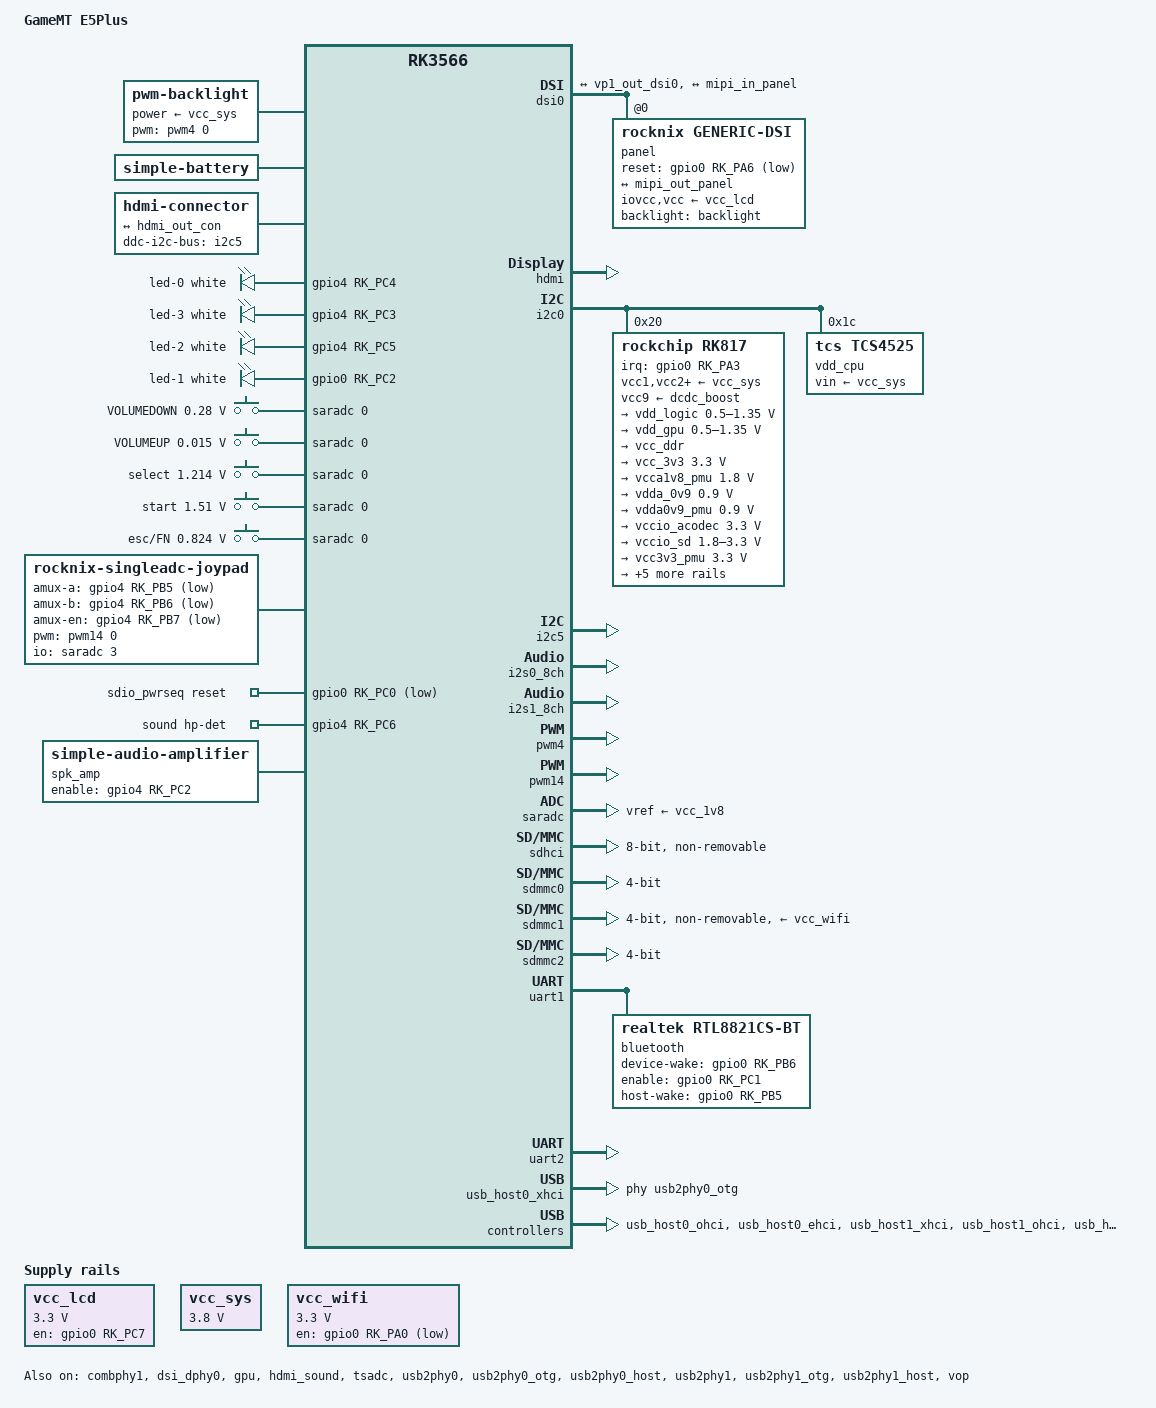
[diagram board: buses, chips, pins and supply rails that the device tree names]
// SPDX-License-Identifier: (GPL-2.0+ OR MIT)

/dts-v1/;

#include <dt-bindings/gpio/gpio.h>
#include <dt-bindings/input/linux-event-codes.h>
#include <dt-bindings/leds/common.h>
#include <dt-bindings/pinctrl/rockchip.h>
#include <dt-bindings/soc/rockchip,vop2.h>
#include "rk3566.dtsi"

/ {
	model = "GameMT E5Plus";
	chassis-type = "handset";
	compatible = "gamemt,e5plus", "rockchip,rk3566";

	aliases {
		mmc0 = &sdhci;
		mmc1 = &sdmmc0;
		mmc2 = &sdmmc2;
		mmc3 = &sdmmc1;
	};

	chosen: chosen {
		stdout-path = "serial2:1500000n8";
	};

	backlight: backlight {
		compatible = "pwm-backlight";
		power-supply = <&vcc_sys>;
		pwms = <&pwm4 0 25000 0>;
		brightness-levels = <
			  0  20  20  21  21  22  22  23
			 23  24  24  25  25  26  26  27
			 27  28  28  29  29  30  30  31
			 31  32  32  33  33  34  34  35
			 35  36  36  37  37  38  38  39
			 40  41  42  43  44  45  46  47
			 48  49  50  50  51  52  53  54
			 55  55  56  57  58  59  60  61
			 62  63  64  64  65  65  66  67
			 68  69  70  71  71  72  73  74
			 75  76  77  78  79  79  80  81
			 82  83  84  85  86  86  87  88
			 89  90  91  92  93  94  94  95
			 96  97  98  99 100 101 101 102
			103 104 105 106 107 107 108 109
			110 111 112 113 114 115 115 116
			117 118 119 120 121 122 123 123
			124 125 126 127 128 129 130 130
			131 132 133 134 135 136 136 137
			138 139 140 141 142 143 143 144
			145 146 147 147 148 149 150 151
			152 153 154 155 156 156 157 158
			159 157 158 159 160 161 162 162
			163 164 165 166 167 168 169 169
			170 171 172 173 174 175 175 176
			177 178 179 180 181 182 182 183
			184 185 186 187 188 189 190 190
			191 192 193 194 195 196 197 197
			198 199 200 201 202 203 204 204
			205 206 207 208 209 209 210 211
			212 213 213 214 214 215 215 216
			216 217 217 218 218 219 219 220>;
		default-brightness-level = <200>;
	};

	battery: battery {
		compatible = "simple-battery";
		charge-full-design-microamp-hours = <4000000>;
		charge-term-current-microamp = <300000>;
		constant-charge-current-max-microamp = <2000000>;
		constant-charge-voltage-max-microvolt = <4300000>;
		factory-internal-resistance-micro-ohms = <91000>;
		voltage-max-design-microvolt = <4138000>;
		voltage-min-design-microvolt = <3400000>;

		ocv-capacity-celsius = <20>;
		ocv-capacity-table-0 =  <4138000 100>, <4083000 95>, <4059000 90>, <4044000 85>,
					<4030000 80>, <4020000 75>, <4006000 70>, <3972000 65>,
					<3934000 60>, <3904000 55>, <3878000 50>, <3857000 45>,
					<3843000 40>, <3826000 35>, <3801000 30>, <3768000 25>,
					<3735000 20>, <3688000 15>, <3621000 10>, <3553000 5>,
					<3400000 0>;
	};


	hdmi-con {
		compatible = "hdmi-connector";
		ddc-i2c-bus = <&i2c5>;
		type = "c";

		port {
			hdmi_con_in: endpoint {
				remote-endpoint = <&hdmi_out_con>;
			};
		};
	};

    leds: gpio-leds {
         compatible = "gpio-leds";
         pinctrl-0 = <&btn_pins_led>;
         pinctrl-names = "default";

        led-0 {
            color = <LED_COLOR_ID_WHITE>;
            default-state = "off";
            function = "left_joy";
            gpios = <&gpio4 RK_PC4 GPIO_ACTIVE_HIGH>;
        };

        led-3 {
            color = <LED_COLOR_ID_WHITE>;
            default-state = "off";
            function = "right_down";
            gpios = <&gpio4 RK_PC3 GPIO_ACTIVE_HIGH>;
        };
        led-2 {
            color = <LED_COLOR_ID_WHITE>;
            default-state = "off";
            function = "right_joy";
            gpios = <&gpio4 RK_PC5 GPIO_ACTIVE_HIGH>;
        };
        led-1 {
            color = <LED_COLOR_ID_WHITE>;
            default-state = "left_down";
            function = LED_FUNCTION_STATUS;
            gpios = <&gpio0 RK_PC2 GPIO_ACTIVE_HIGH>;
        };
    };

	adc_keys: adc-keys {
		compatible = "adc-keys";
		io-channels = <&saradc 0>;
		io-channel-names = "buttons";
		keyup-threshold-microvolt = <1800000>;
		poll-interval = <60>;

		vol-down-key {
		           label = "VOLUMEDOWN";
		           linux,code = <KEY_VOLUMEDOWN>;
			press-threshold-microvolt = <280000>;
		};

		vol-up-key {
		           label = "VOLUMEUP";
		           linux,code = <KEY_VOLUMEUP>;
			press-threshold-microvolt = <15000>;
		};
		select-key {
		           label = "select";
		           linux,code = <KEY_RIGHTSHIFT>;
			press-threshold-microvolt = <1214000>;
		};

		start-key {
		           label = "start";
		           linux,code = <KEY_ENTER>;
			press-threshold-microvolt = <1510000>;//<987000>;
		};

		fn-key {
		           label = "esc/FN";
		           linux,code = <KEY_ESC>;
			press-threshold-microvolt = <824000>;//<1310000>;
		};
	};

	joypad: rocknix-singleadc-joypad {
		compatible = "rocknix-singleadc-joypad";

		joypad-name = "retrogame_joypad";
		joypad-product = <0x1101>;
		joypad-revision = <0x0100>;
		joypad-vendor = <0x484B>;

		pwms = <&pwm14 0 200000000 0>;
		pwm-names = "enable";
		rumble-boost-weak = <0x0000>;
		rumble-boost-strong = <0x0000>;

		status = "okay";

		/* gpio pincontrol setup */
		pinctrl-names = "default";
		pinctrl-0 = <&btn_pins_ctrl>;

		/* Analog mux define */
		io-channel-names = "amux_adc";
		io-channels = <&saradc 3>;

		/* adc mux channel count */
		amux-count = <4>;
		amux-channel-mapping = <0 2 1 3>;
		/* adc mux select(a,b) gpio */
		amux-a-gpios = <&gpio4 RK_PB5 GPIO_ACTIVE_LOW>;
		amux-b-gpios = <&gpio4 RK_PB6 GPIO_ACTIVE_LOW>;
		/* adc mux enable gpio */
		amux-en-gpios = <&gpio4 RK_PB7 GPIO_ACTIVE_LOW>;

		/* adc calculate scale */
		button-adc-scale = <2>;


		/* adc deadzone range  */
		button-adc-deadzone = <50>;

		/*
		  specifies fuzz value that is used to filter noise from
		  the event stream.
		*/
		button-adc-fuzz = <32>;
		button-adc-flat = <32>;

		/*
		  Analog Stick data tuning value(precent)
		  p = positive direction, n = negative direction
		  report value = (real_adc_data * tuning_value) / 100
		*/
		abs_x-p-tuning = <245>;
		abs_x-n-tuning = <545>;

		abs_y-p-tuning = <245>;
		abs_y-n-tuning = <545>;

		abs_rx-p-tuning = <545>;
		abs_rx-n-tuning = <245>;

		abs_ry-p-tuning = <345>;
		abs_ry-n-tuning = <545>;

		/* poll device interval (ms), adc read interval */
		poll-interval = <10>;

		/* required to invert x/y */
		//invert-absy;

		/* gpio button auto repeat set value : default disable */
		/* autorepeat; */

		/*    *** Powkiddy X55 Switch layout ***
		|------------------------------------------------|
		| sw15                                      sw13 |
		| sw16                                      sw14 |
		|------------------------------------------------|
		|                                                |
		|   Analog     |-------------------|             |
		|    sw11      |                   |      sw8    |
		|              |                   |   sw7   sw5 |
		|              |    LCD Display    |      sw6    |
		|     sw1      |                   |             |
		|  sw3  sw4    |                   |    Analog   |
		|     sw2      |-------------------|     sw12    |
		|                                                |
		| sw9 Vol+                           Vol- sw10   |
		|                                                |
		|------------------------------------------------| */

		sw1 {
			gpios = <&gpio4 RK_PB3 GPIO_ACTIVE_LOW>;
			label = "GPIO DPAD-UP";
			linux,code = <BTN_DPAD_UP>;
		};
		sw2 {
			gpios = <&gpio4 RK_PB4 GPIO_ACTIVE_LOW>;
			label = "GPIO DPAD-DOWN";
			linux,code = <BTN_DPAD_DOWN>;
		};
		sw3 {
			gpios = <&gpio4 RK_PB1 GPIO_ACTIVE_LOW>;
			label = "GPIO DPAD-LEFT";
			linux,code = <BTN_DPAD_LEFT>;
		};
		sw4 {
			gpios = <&gpio4 RK_PB2 GPIO_ACTIVE_LOW>;
			label = "GPIO DPAD-RIGHT";
			linux,code = <BTN_DPAD_RIGHT>;
		};
		sw5 {
			gpios = <&gpio4 RK_PA6 GPIO_ACTIVE_LOW>;
			label = "GPIO BTN-A";
			linux,code = <BTN_EAST>;
		};
		sw6 {
			gpios = <&gpio4 RK_PA7 GPIO_ACTIVE_LOW>;
			label = "GPIO BTN-B";
			linux,code = <BTN_SOUTH>;
		};
		sw7 {
			gpios = <&gpio4 RK_PB0 GPIO_ACTIVE_LOW>;
			label = "GPIO BTN-Y";
			linux,code = <BTN_WEST>;
		};
		sw8 {
			gpios = <&gpio4 RK_PA5 GPIO_ACTIVE_LOW>;
			label = "GPIO BTN-X";
			linux,code = <BTN_NORTH>;
		};
		sw9 {
			gpios = <&gpio3 RK_PD5 GPIO_ACTIVE_LOW>;
			label = "BTN_SELECT";
			linux,code = <BTN_SELECT>;
		};
		sw10 {
			gpios = <&gpio3 RK_PD4 GPIO_ACTIVE_LOW>;
			label = "BTN_START";
			linux,code = <BTN_START>;
		};
		/* this sw11 entry is SPECIAL, most RK3566 devices do not have
		   this physical button but for the sake of keeping compatibility
		   with ES and retroarch, this phantom button and offset will
		   allow existing userspace programs to work without doing any
		   new remapping thus saving lots of headaches and extra work */
		sw11 {
			gpios = <&gpio3 RK_PD3 GPIO_ACTIVE_LOW>;
			label = "GPIO BTN_F";
			linux,code = <BTN_MODE>;
		};
		sw12 {
			gpios = <&gpio4 RK_PC0 GPIO_ACTIVE_LOW>;
			label = "BTN_THUMBL";
			linux,code = <BTN_THUMBL>;
		};
		sw13 {
			gpios = <&gpio4 RK_PC1 GPIO_ACTIVE_LOW>;
			label = "BTN_THUMBR";
			linux,code = <BTN_THUMBR>;
		};
		sw14 {
			gpios = <&gpio4 RK_PA3 GPIO_ACTIVE_LOW>;
			label = "GPIO BTN_TR";
			linux,code = <BTN_TR>;
		};
		sw15 {
			gpios = <&gpio4 RK_PA4 GPIO_ACTIVE_LOW>;
			label = "GPIO BTN_TR2";
			linux,code = <BTN_TR2>;
		};
		sw16 {
			gpios = <&gpio4 RK_PA1 GPIO_ACTIVE_LOW>;
			label = "GPIO BTN_TL";
			linux,code = <BTN_TL>;
		};
		sw17 {
			gpios = <&gpio4 RK_PA2 GPIO_ACTIVE_LOW>;
			label = "GPIO BTN_TL2";
			linux,code = <BTN_TL2>;
		};
	};

	sdio_pwrseq: sdio-pwrseq {
		compatible = "mmc-pwrseq-simple";
		clocks = <&rk817 1>;
		clock-names = "ext_clock";
		pinctrl-0 = <&wifi_enable_h>;
		pinctrl-names = "default";
		post-power-on-delay-ms = <200>;
		reset-gpios = <&gpio0 RK_PC0 GPIO_ACTIVE_LOW>;
	};

	/* Channels reversed for both headphones and speakers. */
	sound {
		compatible = "simple-audio-card";
		pinctrl-0 = <&hp_det>;
		pinctrl-names = "default";
		simple-audio-card,name = "rk817_ext";
		simple-audio-card,aux-devs = <&spk_amp>;
		simple-audio-card,format = "i2s";
		simple-audio-card,hp-det-gpio = <&gpio4 RK_PC6 GPIO_ACTIVE_HIGH>;
		simple-audio-card,mclk-fs = <256>;
		simple-audio-card,widgets =
			"Microphone", "Mic Jack",
			"Headphone", "Headphones",
			"Speaker", "Internal Speakers";
		simple-audio-card,routing =
			"MICL", "Mic Jack",
			"Headphones", "HPOL",
			"Headphones", "HPOR",
			"Internal Speakers", "Speaker Amp OUTL",
			"Internal Speakers", "Speaker Amp OUTR",
			"Speaker Amp INL", "HPOL",
			"Speaker Amp INR", "HPOR";
		simple-audio-card,pin-switches = "Internal Speakers";

		simple-audio-card,codec {
			sound-dai = <&rk817>;
		};

		simple-audio-card,cpu {
			sound-dai = <&i2s1_8ch>;
		};
	};

	spk_amp: audio-amplifier {
		compatible = "simple-audio-amplifier";
		enable-gpios = <&gpio4 RK_PC2 GPIO_ACTIVE_HIGH>;
		pinctrl-0 = <&spk_amp_enable_h>;
		pinctrl-names = "default";
		sound-name-prefix = "Speaker Amp";
	};

	vcc_lcd: regulator-vcc-lcd {
		compatible = "regulator-fixed";
		enable-active-high;
		gpio = <&gpio0 RK_PC7 GPIO_ACTIVE_HIGH>;
		pinctrl-0 = <&vcc_lcd_en>;
		pinctrl-names = "default";
		regulator-min-microvolt = <3300000>;
		regulator-max-microvolt = <3300000>;
		regulator-name = "vcc_lcd";
	};

	vcc_sys: regulator-vcc-sys {
		compatible = "regulator-fixed";
		regulator-always-on;
		regulator-boot-on;
		regulator-min-microvolt = <3800000>;
		regulator-max-microvolt = <3800000>;
		regulator-name = "vcc_sys";
	};

	vcc_wifi: regulator-vcc-wifi {
		compatible = "regulator-fixed";
		gpio = <&gpio0 RK_PA0 GPIO_ACTIVE_LOW>;
		pinctrl-0 = <&vcc_wifi_h>;
		pinctrl-names = "default";
		regulator-min-microvolt = <3300000>;
		regulator-max-microvolt = <3300000>;
		regulator-name = "vcc_wifi";
	};
};

&combphy1 {
	status = "okay";
};

&cru {
	assigned-clocks = <&pmucru CLK_RTC_32K>, <&cru PLL_GPLL>,
			  <&pmucru PLL_PPLL>, <&cru PLL_VPLL>;
	assigned-clock-rates = <32768>, <1200000000>,
			       <200000000>, <126400000>;
};

&cpu0 {
	cpu-supply = <&vdd_cpu>;
};

&cpu1 {
	cpu-supply = <&vdd_cpu>;
};

&cpu2 {
	cpu-supply = <&vdd_cpu>;
};

&cpu3 {
	cpu-supply = <&vdd_cpu>;
};

&dsi_dphy0 {
	status = "okay";
};

&dsi0 {
	status = "okay";
	#address-cells = <1>;
	#size-cells = <0>;

	ports {
		dsi0_in: port@0 {
			reg = <0>;
			dsi0_in_vp1: endpoint {
				remote-endpoint = <&vp1_out_dsi0>;
			};
		};

		dsi0_out: port@1 {
			reg = <1>;
			mipi_out_panel: endpoint {
				remote-endpoint = <&mipi_in_panel>;
			};
		};
	};

	panel: panel@0 {
		compatible = "rocknix,generic-dsi";
		reg = <0>;
		backlight = <&backlight>;
		iovcc-supply = <&vcc_lcd>;
		pinctrl-names = "default";
		pinctrl-0 = <&lcd_rst>;
		reset-gpios = <&gpio0 RK_PA6 GPIO_ACTIVE_LOW>;
		rotation = <90>;
		vcc-supply = <&vcc_lcd>;
            panel_description =
                "G size=72,128 delays=120,200,20,20,20 format=rgb888 lanes=4 flags=0xa03",

                "M clock=72328 horizontal=720,146,20,19 vertical=1280,17,4,31 default=1",

                "I seq=0000",
                "I seq=ff128401",
                "I seq=0080",
                "I seq=ff1284",
                "I seq=0092",
                "I seq=ff3002",
                "I seq=0080",
                "I seq=c00064000e1200640e12",
                "I seq=0081",
                "I seq=c155",
                "I seq=00a0",
                "I seq=c102",
                "I seq=00c6",
                "I seq=b003",
                "I seq=00c2",
                "I seq=f540",
                "I seq=00c3",
                "I seq=f585",
                "I seq=00a0",
                "I seq=c40510060205151005100702051510",
                "I seq=00b0",
                "I seq=c40000",
                "I seq=00bb",
                "I seq=c58a",
                "I seq=0091",
                "I seq=c51652",
                "I seq=0000",
                "I seq=d88d8d",
                "I seq=0000",
                "I seq=d968",
                "I seq=00b3",
                "I seq=c584",
                "I seq=0090",
                "I seq=f502110215",
                "I seq=0090",
                "I seq=c550",
                "I seq=0094",
                "I seq=c566",
                "I seq=00b2",
                "I seq=f50000",
                "I seq=00b4",
                "I seq=f50000",
                "I seq=00b6",
                "I seq=f50000",
                "I seq=00b8",
                "I seq=f50000",
                "I seq=0094",
                "I seq=f50000",
                "I seq=00d2",
                "I seq=f50615",
                "I seq=00b4",
                "I seq=c5cc",
                "I seq=0080",
                "I seq=cb0000000000000000000000",
                "I seq=0090",
                "I seq=cb000000000000000000000000000000",
                "I seq=00a0",
                "I seq=cb000000000000000000000000000000",
                "I seq=00b0",
                "I seq=cb000000000000000000000000000000",
                "I seq=00c0",
                "I seq=cb050505050505000000000000000000",
                "I seq=00d0",
                "I seq=cb000000000505050505050505050000",
                "I seq=00e0",
                "I seq=cb0000000000000000000000050505",
                "I seq=00f0",
                "I seq=cbfffffffffffffffcffffff",
                "I seq=0080",
                "I seq=cc0c0a100e0204000000000000000000",
                "I seq=0090",
                "I seq=cc00000000062e2d0b090f0d01030000",
                "I seq=00a0",
                "I seq=cc0000000000000000000000052e2d",
                "I seq=00b0",
                "I seq=cc0d0f090b0301000000000000000000",
                "I seq=00c0",
                "I seq=cc00000000062d2e0e100a0c04020000",
                "I seq=00d0",
                "I seq=cc0000000000000000000000052d2e",
                "I seq=0080",
                "I seq=ce8b03188a0318890318880318",
                "I seq=0090",
                "I seq=ce380f18380e180000000000000000",
                "I seq=00a0",
                "I seq=ce3807050000180038060501001800",
                "I seq=00b0",
                "I seq=ce3805050200180038040503001800",
                "I seq=00c0",
                "I seq=ce3803050400180038020505001800",
                "I seq=00d0",
                "I seq=ce3801050600180038000507001800",
                "I seq=0080",
                "I seq=cf0000000000000000000000000000",
                "I seq=0090",
                "I seq=cf0000000000000000000000000000",
                "I seq=00a0",
                "I seq=cf0000000000000000000000000000",
                "I seq=00b0",
                "I seq=cf0000000000000000000000000000",
                "I seq=00c0",
                "I seq=cf0101202000000281000308",
                "I seq=00b5",
                "I seq=c538117f38117f",
                "I seq=0000",
                "I seq=ffffffff",
                "I seq=11 wait=120",
                "I seq=29 wait=20";

		port {
			mipi_in_panel: endpoint {
				remote-endpoint = <&mipi_out_panel>;
			};
		};
	};
};

&gpu {
	mali-supply = <&vdd_gpu>;
	status = "okay";
};

&hdmi {
	ddc-i2c-bus = <&i2c5>;
	pinctrl-0 = <&hdmitxm0_cec>;
	pinctrl-names = "default";
	status = "okay";
};

&hdmi_in {
	hdmi_in_vp0: endpoint {
		remote-endpoint = <&vp0_out_hdmi>;
	};
};

&hdmi_out {
	hdmi_out_con: endpoint {
		remote-endpoint = <&hdmi_con_in>;
	};
};

&hdmi_sound {
	status = "okay";
};

&i2c0 {
	status = "okay";

	rk817: pmic@20 {
		compatible = "rockchip,rk817";
		reg = <0x20>;
		assigned-clocks = <&cru I2S1_MCLKOUT_TX>;
		assigned-clock-parents = <&cru CLK_I2S1_8CH_TX>;
		clock-names = "mclk";
		clock-output-names = "rk808-clkout1", "rk808-clkout2";
		clocks = <&cru I2S1_MCLKOUT_TX>;
		interrupt-parent = <&gpio0>;
		interrupts = <RK_PA3 IRQ_TYPE_LEVEL_LOW>;
		pinctrl-names = "default";
		pinctrl-0 = <&i2s1m0_mclk>, <&pmic_int_l>;
		wakeup-source;
		#clock-cells = <1>;
		#sound-dai-cells = <0>;

		vcc1-supply = <&vcc_sys>;
		vcc2-supply = <&vcc_sys>;
		vcc3-supply = <&vcc_sys>;
		vcc4-supply = <&vcc_sys>;
		vcc5-supply = <&vcc_sys>;
		vcc6-supply = <&vcc_sys>;
		vcc7-supply = <&vcc_sys>;
		vcc8-supply = <&vcc_sys>;
		vcc9-supply = <&dcdc_boost>;

		regulators {
			vdd_logic: DCDC_REG1 {
				regulator-always-on;
				regulator-boot-on;
				regulator-min-microvolt = <500000>;
				regulator-max-microvolt = <1350000>;
				regulator-ramp-delay = <6001>;
				regulator-initial-mode = <0x2>;
				regulator-name = "vdd_logic";
				regulator-state-mem {
					regulator-off-in-suspend;
					regulator-suspend-microvolt = <900000>;
				};
			};

			vdd_gpu: DCDC_REG2 {
				regulator-always-on;
				regulator-boot-on;
				regulator-min-microvolt = <500000>;
				regulator-max-microvolt = <1350000>;
				regulator-ramp-delay = <6001>;
				regulator-initial-mode = <0x2>;
				regulator-name = "vdd_gpu";
				regulator-state-mem {
					regulator-off-in-suspend;
				};
			};

			vcc_ddr: DCDC_REG3 {
				regulator-always-on;
				regulator-boot-on;
				regulator-initial-mode = <0x2>;
				regulator-name = "vcc_ddr";
				regulator-state-mem {
					regulator-on-in-suspend;
				};
			};

			vcc_3v3: DCDC_REG4 {
				regulator-always-on;
				regulator-boot-on;
				regulator-min-microvolt = <3300000>;
				regulator-max-microvolt = <3300000>;
				regulator-initial-mode = <0x2>;
				regulator-name = "vcc_3v3";
				regulator-state-mem {
					regulator-on-in-suspend;
					regulator-suspend-microvolt = <3300000>;
				};
			};

			vcca1v8_pmu: LDO_REG1 {
				regulator-always-on;
				regulator-boot-on;
				regulator-min-microvolt = <1800000>;
				regulator-max-microvolt = <1800000>;
				regulator-name = "vcca1v8_pmu";
				regulator-state-mem {
					regulator-on-in-suspend;
					regulator-suspend-microvolt = <1800000>;
				};
			};

			vdda_0v9: LDO_REG2 {
				regulator-always-on;
				regulator-boot-on;
				regulator-min-microvolt = <900000>;
				regulator-max-microvolt = <900000>;
				regulator-name = "vdda_0v9";
				regulator-state-mem {
					regulator-off-in-suspend;
				};
			};

			vdda0v9_pmu: LDO_REG3 {
				regulator-always-on;
				regulator-boot-on;
				regulator-min-microvolt = <900000>;
				regulator-max-microvolt = <900000>;
				regulator-name = "vdda0v9_pmu";
				regulator-state-mem {
					regulator-on-in-suspend;
					regulator-suspend-microvolt = <900000>;
				};
			};

			vccio_acodec: LDO_REG4 {
				regulator-always-on;
				regulator-boot-on;
				regulator-min-microvolt = <3300000>;
				regulator-max-microvolt = <3300000>;
				regulator-name = "vccio_acodec";
				regulator-state-mem {
					regulator-off-in-suspend;
				};
			};

			vccio_sd: LDO_REG5 {
				regulator-always-on;
				regulator-boot-on;
				regulator-min-microvolt = <1800000>;
				regulator-max-microvolt = <3300000>;
				regulator-name = "vccio_sd";
				regulator-state-mem {
					regulator-off-in-suspend;
				};
			};

			vcc3v3_pmu: LDO_REG6 {
				regulator-always-on;
				regulator-boot-on;
				regulator-min-microvolt = <3300000>;
				regulator-max-microvolt = <3300000>;
				regulator-name = "vcc3v3_pmu";
				regulator-state-mem {
					regulator-on-in-suspend;
					regulator-suspend-microvolt = <3300000>;
				};
			};

			vcc_1v8: LDO_REG7 {
				regulator-always-on;
				regulator-boot-on;
				regulator-min-microvolt = <1800000>;
				regulator-max-microvolt = <1800000>;
				regulator-name = "vcc_1v8";
				regulator-state-mem {
					regulator-off-in-suspend;
				};
			};

			vcc1v8_dvp: LDO_REG8 {
				regulator-always-on;
				regulator-boot-on;
				regulator-min-microvolt = <1800000>;
				regulator-max-microvolt = <1800000>;
				regulator-name = "vcc1v8_dvp";
				regulator-state-mem {
					regulator-on-in-suspend;
				};
			};

			vcc2v8_dvp: LDO_REG9 {
				regulator-always-on;
				regulator-boot-on;
				regulator-min-microvolt = <1800000>;
				regulator-max-microvolt = <3300000>;
				regulator-name = "vcc2v8_dvp";
				regulator-state-mem {
					regulator-off-in-suspend;
				};
			};

			dcdc_boost: BOOST {
				regulator-min-microvolt = <4700000>;
				regulator-max-microvolt = <5400000>;
				regulator-name = "boost";
				regulator-state-mem {
					regulator-off-in-suspend;
				};
			};

			otg_switch: OTG_SWITCH {
				regulator-name = "otg_switch";
				regulator-state-mem {
					regulator-off-in-suspend;
				};
			};
		};

		rk817_charger: charger {
			monitored-battery = <&battery>;
			rockchip,resistor-sense-micro-ohms = <10000>;
			rockchip,sleep-enter-current-microamp = <150000>;
			rockchip,sleep-filter-current-microamp = <100000>;
		};

	};

	vdd_cpu: regulator@1c {
		compatible = "tcs,tcs4525";
		reg = <0x1c>;
		fcs,suspend-voltage-selector = <1>;
		regulator-always-on;
		regulator-boot-on;
		regulator-min-microvolt = <712500>;
		regulator-max-microvolt = <1390000>;
		regulator-name = "vdd_cpu";
		regulator-ramp-delay = <2300>;
		vin-supply = <&vcc_sys>;
		regulator-state-mem {
			regulator-off-in-suspend;
		};
	};
};

&i2c5 {
	pinctrl-0 = <&i2c5m1_xfer>;
	pinctrl-names = "default";
	status = "okay";
};

&i2s0_8ch {
	status = "okay";
};

&i2s1_8ch {
	pinctrl-0 = <&i2s1m0_sclktx>, <&i2s1m0_lrcktx>, <&i2s1m0_sdi0>,
		    <&i2s1m0_sdo0>;
	pinctrl-names = "default";
	rockchip,trcm-sync-tx-only;
	status = "okay";
};

&pinctrl {
	audio-amplifier {
		spk_amp_enable_h: spk-amp-enable-h {
			rockchip,pins =
				<4 RK_PC2 RK_FUNC_GPIO &pcfg_pull_none>;
		};
	};

	gpio-control {
		btn_pins_ctrl: btn-pins-ctrl {
			rockchip,pins =
				<4 RK_PB5 RK_FUNC_GPIO &pcfg_pull_up>,
				<4 RK_PB6 RK_FUNC_GPIO &pcfg_pull_up>,
				<4 RK_PB7 RK_FUNC_GPIO &pcfg_pull_up>,
				<4 RK_PB3 RK_FUNC_GPIO &pcfg_pull_up>,
				<4 RK_PB4 RK_FUNC_GPIO &pcfg_pull_up>,
				<4 RK_PB1 RK_FUNC_GPIO &pcfg_pull_up>,
				<4 RK_PB2 RK_FUNC_GPIO &pcfg_pull_up>,
				<4 RK_PA7 RK_FUNC_GPIO &pcfg_pull_up>,
				<4 RK_PA6 RK_FUNC_GPIO &pcfg_pull_up>,
				<4 RK_PB0 RK_FUNC_GPIO &pcfg_pull_up>,
				<4 RK_PA5 RK_FUNC_GPIO &pcfg_pull_up>,
				<3 RK_PB5 RK_FUNC_GPIO &pcfg_pull_up>,
				<3 RK_PB6 RK_FUNC_GPIO &pcfg_pull_up>,
				<3 RK_PB7 RK_FUNC_GPIO &pcfg_pull_up>,
				<4 RK_PC0 RK_FUNC_GPIO &pcfg_pull_up>,
				<4 RK_PC1 RK_FUNC_GPIO &pcfg_pull_up>,
				<4 RK_PA3 RK_FUNC_GPIO &pcfg_pull_up>,
				<4 RK_PA4 RK_FUNC_GPIO &pcfg_pull_up>,
				<4 RK_PA1 RK_FUNC_GPIO &pcfg_pull_up>,
				<4 RK_PA2 RK_FUNC_GPIO &pcfg_pull_up>;
		};

	};

	gpio-lcd {
		lcd_rst: lcd-rst {
			rockchip,pins =
				<0 RK_PA6 RK_FUNC_GPIO &pcfg_pull_none>;
		};
	};

	gpio-led {
		btn_pins_led: btn-pins-led {
			rockchip,pins =
				<4 RK_PC3 RK_FUNC_GPIO &pcfg_pull_none>,
				<4 RK_PC4 RK_FUNC_GPIO &pcfg_pull_none>,
				<4 RK_PC5 RK_FUNC_GPIO &pcfg_pull_none>,
				<0 RK_PC2 RK_FUNC_GPIO &pcfg_pull_none>;
		};
	};

	hp-detect {
		hp_det: hp-det {
			rockchip,pins =
				<4 RK_PC6 RK_FUNC_GPIO &pcfg_pull_up>;
		};
	};

	pmic {
		pmic_int_l: pmic-int-l {
			rockchip,pins =
				<0 RK_PA3 RK_FUNC_GPIO &pcfg_pull_up>;
		};
	};

	sdio-pwrseq {
		wifi_enable_h: wifi-enable-h {
			rockchip,pins =
				<0 RK_PC0 RK_FUNC_GPIO &pcfg_pull_none>;
		};
	};


	vcc-lcd {
		vcc_lcd_en: vcc-lcd-en {
			rockchip,pins =
				<0 RK_PC7 RK_FUNC_GPIO &pcfg_pull_none>;
		};
	};

	vcc-wifi {
		vcc_wifi_h: vcc-wifi-h {
			rockchip,pins =
				<0 RK_PA0 RK_FUNC_GPIO &pcfg_pull_none>;
		};
	};
};

&pmu_io_domains {
	status = "okay";
	pmuio1-supply = <&vcc3v3_pmu>;
	pmuio2-supply = <&vcca1v8_pmu>;
	vccio1-supply = <&vccio_acodec>;
	vccio3-supply = <&vccio_sd>;
	vccio4-supply = <&vcca1v8_pmu>;
	vccio5-supply = <&vcc2v8_dvp>;
	vccio6-supply = <&vcc1v8_dvp>;
	vccio7-supply = <&vcc_3v3>;
};

&pwm4 {
	status = "okay";
};

&pwm14 {
	status = "okay";
};

&saradc {
	vref-supply = <&vcc_1v8>;
	status = "okay";
};

&sdhci {
	bus-width = <8>;
	mmc-hs200-1_8v;
	non-removable;
	pinctrl-0 = <&emmc_bus8>, <&emmc_clk>, <&emmc_cmd>,
		    <&emmc_datastrobe>, <&emmc_rstnout>;
	pinctrl-names = "default";
	status = "okay";
};

&sdmmc0 {
	bus-width = <4>;
	cap-mmc-highspeed;
	cap-sd-highspeed;
	disable-wp;
	pinctrl-0 = <&sdmmc0_bus4>, <&sdmmc0_clk>, <&sdmmc0_cmd>,
		    <&sdmmc0_det>;
	pinctrl-names = "default";
	sd-uhs-sdr104;
	vqmmc-supply = <&vccio_sd>;
	status = "okay";
};

&sdmmc1 {
	bus-width = <4>;
	cap-sd-highspeed;
	cap-sdio-irq;
	keep-power-in-suspend;
	mmc-pwrseq = <&sdio_pwrseq>;
	non-removable;
	pinctrl-0 = <&sdmmc1_bus4>, <&sdmmc1_cmd>, <&sdmmc1_clk>;
	pinctrl-names = "default";
	vmmc-supply = <&vcc_wifi>;
	disable-wp;
	no-mmc;
	no-sd;
	sd-uhs-sdr104;
	status = "okay";
};

&sdmmc2 {
	bus-width = <4>;
	cap-mmc-highspeed;
	cap-sd-highspeed;
	disable-wp;
	pinctrl-0 = <&sdmmc2m1_bus4>, <&sdmmc2m1_cmd>, <&sdmmc2m1_clk>,
		    <&sdmmc2m1_det>;
	pinctrl-names = "default";
	sd-uhs-sdr104;
	vqmmc-supply = <&vcc2v8_dvp>;
	status = "okay";
};

&tsadc {
	rockchip,hw-tshut-mode = <1>;
	rockchip,hw-tshut-polarity = <0>;
	status = "okay";
};

&uart1 {
	pinctrl-0 = <&uart1m0_xfer>, <&uart1m0_ctsn>, <&uart1m0_rtsn>;
	pinctrl-names = "default";
	uart-has-rtscts;
	status = "okay";

	bluetooth {
		compatible = "realtek,rtl8821cs-bt", "realtek,rtl8723bs-bt";
		device-wake-gpios = <&gpio0 RK_PB6 GPIO_ACTIVE_HIGH>;
		enable-gpios = <&gpio0 RK_PC1 GPIO_ACTIVE_HIGH>;
		host-wake-gpios = <&gpio0 RK_PB5 GPIO_ACTIVE_HIGH>;
	};
};

&uart2 {
	status = "okay";
};

&usb_host0_xhci {
	phys = <&usb2phy0_otg>;
	phy-names = "usb2-phy";
	status = "okay";
};

&usb_host0_ohci {
	status = "okay";
};

&usb_host0_ehci {
	status = "okay";
};


&usb_host1_xhci {
	status = "okay";
};

&usb_host1_ohci {
	status = "okay";
};

&usb_host1_ehci {
	status = "okay";
};

&usb2phy0 {
	status = "okay";
};

&usb2phy0_otg {
	status = "okay";
};

&usb2phy0_host {
	status = "okay";
};

&usb2phy1 {
	status = "okay";
};

&usb2phy1_otg {
	status = "okay";
};

&usb2phy1_host {
	status = "okay";
};

&vop {
	assigned-clocks = <&cru DCLK_VOP0>, <&cru DCLK_VOP1>;
	assigned-clock-parents = <&pmucru PLL_HPLL>, <&cru PLL_VPLL>;
	status = "okay";
};

&vop_mmu {
	status = "okay";
};

&vp0 {
	vp0_out_hdmi: endpoint@ROCKCHIP_VOP2_EP_HDMI0 {
		reg = <ROCKCHIP_VOP2_EP_HDMI0>;
		remote-endpoint = <&hdmi_in_vp0>;
	};
};

&vp1 {
	vp1_out_dsi0: endpoint@ROCKCHIP_VOP2_EP_MIPI0 {
		reg = <ROCKCHIP_VOP2_EP_MIPI0>;
		remote-endpoint = <&dsi0_in_vp1>;
	};
};
